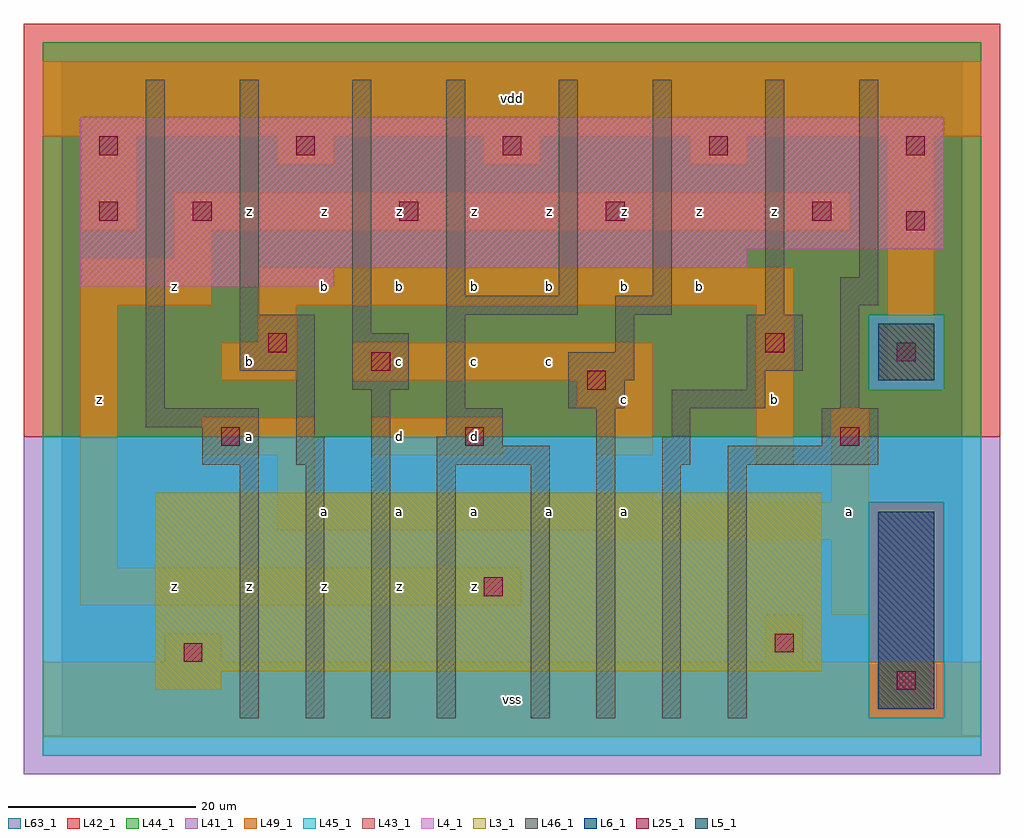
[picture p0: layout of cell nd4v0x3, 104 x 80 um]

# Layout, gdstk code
import gdstk
lib = gdstk.Library(unit=1e-6, precision=1e-09)
def R(c, l, rs):  # rectangles x0, y0, x1, y1
    for r in rs: c.add(gdstk.rectangle(r[:2], r[2:], *l))
def A(c, l, x, y, w, h, nx, ny, dx, dy):  # array of equal rectangles
    R(c, l, [(x+i*dx, y+j*dy, x+i*dx+w, y+j*dy+h) for i in range(nx) for j in range(ny)])
L3_1 = (3, 1)
L4_1 = (4, 1)
L5_1 = (5, 1)
L6_1 = (6, 1)
L25_1 = (25, 1)
L41_1 = (41, 1)
L42_1 = (42, 1)
L43_1 = (43, 1)
L44_1 = (44, 1)
L45_1 = (45, 1)
L46_1 = (46, 1)
L49_1 = (49, 1)
L63_1 = (63, 1)

nd4v0x3 = lib.new_cell('nd4v0x3')
R(nd4v0x3, L3_1, [(10,5,17,7), (10,7,81,26)])
R(nd4v0x3, L4_1, [(2,48,29,50), (2,50,73,52), (2,52,94,66)])
R(nd4v0x3, L5_1, [(87,38,93,44)])
R(nd4v0x3, L6_1, [(87,3,93,24), (87,3,93,24)])
A(nd4v0x3, L25_1, 14, 55, 2, 2, 4, 1, 22, 0)
A(nd4v0x3, L25_1, 25, 62, 2, 2, 3, 1, 22, 0)
R(nd4v0x3, L25_1, [(89,5,91,7), (13,8,15,10), (76,9,78,11), (45,15,47,17), (17,31,19,33), (43,31,45,33), (83,31,85,33), (56,37,58,39), (33,39,35,41), (89,40,91,42), (22,41,24,43), (75,41,77,43), (90,54,92,56), (4,55,6,57), (4,62,6,64), (90,62,92,64)])
R(nd4v0x3, L41_1, [(-4,-4,100,32)])
R(nd4v0x3, L42_1, [(-4,32,100,76)])
R(nd4v0x3, L43_1, [(87,3,93,24), (10,5,17,7), (10,7,81,26), (87,38,93,44), (2,48,29,50), (2,50,73,52), (2,52,94,66)])
R(nd4v0x3, L44_1, [(86,2,94,25), (-2,32,98,37), (-2,37,86,45), (94,37,98,45), (-2,45,98,74)])
R(nd4v0x3, L45_1, [(-2,-2,98,2), (-2,2,86,25), (94,2,98,25), (-2,25,98,32), (86,37,94,45)])
R(nd4v0x3, L46_1, [(19,2,21,29), (26,2,28,29), (33,2,35,37), (40,2,42,29), (50,2,52,29), (57,2,59,35), (64,2,66,29), (71,2,73,29), (15,29,21,33), (25,29,28,32), (40,29,52,31), (64,29,67,32), (71,29,87,31), (40,31,47,32), (81,31,87,35), (25,32,27,39), (41,32,47,35), (65,32,67,35), (9,33,21,35), (9,35,11,70), (41,35,43,45), (54,35,60,38), (65,35,75,37), (83,35,85,46), (31,37,37,43), (73,37,75,39), (54,38,61,41), (19,39,27,45), (73,39,79,45), (59,41,61,45), (31,43,33,70), (19,45,21,70), (41,45,55,47), (59,45,65,47), (75,45,77,70), (83,46,87,49), (41,47,43,70), (53,47,55,70), (63,47,65,70), (85,49,87,70)])
A(nd4v0x3, L49_1, 23, 61, 6, 3, 3, 1, 22, 0)
R(nd4v0x3, L49_1, [(-2,0,98,8), (11,8,17,11), (75,8,79,13), (82,13,86,21), (2,14,49,18), (2,18,6,46), (57,21,86,22), (23,22,86,25), (23,25,63,26), (82,25,86,35), (23,26,27,30), (74,29,78,46), (15,30,27,34), (33,30,47,34), (57,30,63,35), (55,35,63,38), (17,38,25,42), (31,38,63,42), (88,38,93,64), (21,42,25,46), (2,46,16,51), (21,46,78,50), (12,51,16,54), (2,54,8,64), (12,54,84,58), (-2,64,98,72)])
R(nd4v0x3, L63_1, [(0,0,96,72)])
nd4v0x3.add(gdstk.Label('z', (12,16), layer=49, texttype=1))
nd4v0x3.add(gdstk.Label('z', (4,36), layer=49, texttype=1))
nd4v0x3.add(gdstk.Label('z', (12,48), layer=49, texttype=1))
nd4v0x3.add(gdstk.Label('z', (28,16), layer=49, texttype=1))
nd4v0x3.add(gdstk.Label('z', (20,16), layer=49, texttype=1))
nd4v0x3.add(gdstk.Label('a', (28,24), layer=49, texttype=1))
nd4v0x3.add(gdstk.Label('a', (20,32), layer=49, texttype=1))
nd4v0x3.add(gdstk.Label('b', (20,40), layer=49, texttype=1))
nd4v0x3.add(gdstk.Label('b', (28,48), layer=49, texttype=1))
nd4v0x3.add(gdstk.Label('z', (28,56), layer=49, texttype=1))
nd4v0x3.add(gdstk.Label('z', (20,56), layer=49, texttype=1))
nd4v0x3.add(gdstk.Label('vss', (48,4), layer=49, texttype=1))
nd4v0x3.add(gdstk.Label('z', (44,16), layer=49, texttype=1))
nd4v0x3.add(gdstk.Label('z', (36,16), layer=49, texttype=1))
nd4v0x3.add(gdstk.Label('a', (36,24), layer=49, texttype=1))
nd4v0x3.add(gdstk.Label('a', (44,24), layer=49, texttype=1))
nd4v0x3.add(gdstk.Label('a', (52,24), layer=49, texttype=1))
nd4v0x3.add(gdstk.Label('d', (44,32), layer=49, texttype=1))
nd4v0x3.add(gdstk.Label('d', (36,32), layer=49, texttype=1))
nd4v0x3.add(gdstk.Label('c', (36,40), layer=49, texttype=1))
nd4v0x3.add(gdstk.Label('c', (44,40), layer=49, texttype=1))
nd4v0x3.add(gdstk.Label('c', (52,40), layer=49, texttype=1))
nd4v0x3.add(gdstk.Label('b', (36,48), layer=49, texttype=1))
nd4v0x3.add(gdstk.Label('b', (44,48), layer=49, texttype=1))
nd4v0x3.add(gdstk.Label('b', (52,48), layer=49, texttype=1))
nd4v0x3.add(gdstk.Label('z', (44,56), layer=49, texttype=1))
nd4v0x3.add(gdstk.Label('z', (52,56), layer=49, texttype=1))
nd4v0x3.add(gdstk.Label('z', (36,56), layer=49, texttype=1))
nd4v0x3.add(gdstk.Label('vdd', (48,68), layer=49, texttype=1))
nd4v0x3.add(gdstk.Label('a', (60,24), layer=49, texttype=1))
nd4v0x3.add(gdstk.Label('c', (60,36), layer=49, texttype=1))
nd4v0x3.add(gdstk.Label('b', (76,36), layer=49, texttype=1))
nd4v0x3.add(gdstk.Label('b', (60,48), layer=49, texttype=1))
nd4v0x3.add(gdstk.Label('b', (68,48), layer=49, texttype=1))
nd4v0x3.add(gdstk.Label('z', (68,56), layer=49, texttype=1))
nd4v0x3.add(gdstk.Label('z', (76,56), layer=49, texttype=1))
nd4v0x3.add(gdstk.Label('z', (60,56), layer=49, texttype=1))
nd4v0x3.add(gdstk.Label('a', (84,24), layer=49, texttype=1))

lib.write_gds('nd4v0x3.gds')
